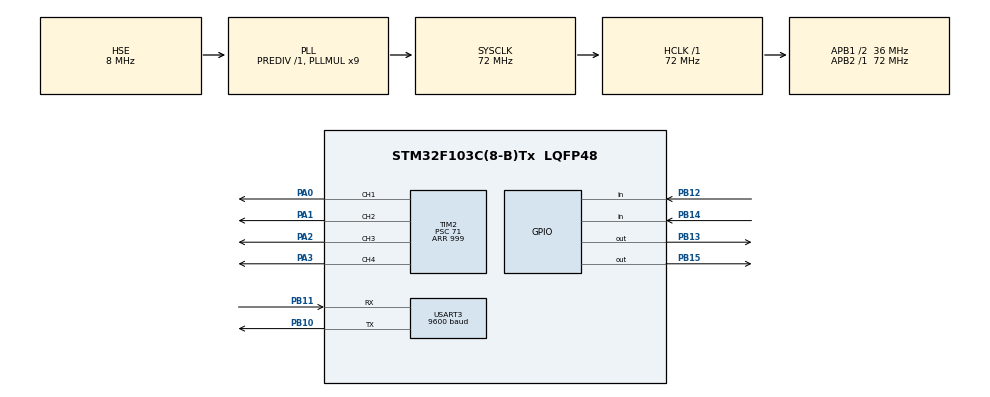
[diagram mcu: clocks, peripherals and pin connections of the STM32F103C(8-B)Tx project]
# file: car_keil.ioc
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Mcu.Family=STM32F1
Mcu.Name=STM32F103C(8-B)Tx
Mcu.Package=LQFP48
NVIC.PriorityGroup=NVIC_PRIORITYGROUP_4
PA0-WKUP.Signal=S_TIM2_CH1_ETR
PA1.Signal=S_TIM2_CH2
PA2.Signal=S_TIM2_CH3
PA3.Signal=S_TIM2_CH4
PB10.Mode=Asynchronous
PB10.Signal=USART3_TX
PB11.Mode=Asynchronous
PB11.Signal=USART3_RX
PB12.Signal=GPIO_Input
PB13.Signal=GPIO_Output
PB14.Signal=GPIO_Input
PB15.Signal=GPIO_Output
PC14-OSC32_IN.Mode=LSE-External-Oscillator
PC14-OSC32_IN.Signal=RCC_OSC32_IN
PC15-OSC32_OUT.Mode=LSE-External-Oscillator
PC15-OSC32_OUT.Signal=RCC_OSC32_OUT
PD0-OSC_IN.Mode=HSE-External-Oscillator
PD0-OSC_IN.Signal=RCC_OSC_IN
PD1-OSC_OUT.Mode=HSE-External-Oscillator
PD1-OSC_OUT.Signal=RCC_OSC_OUT
ProjectManager.HeapSize=0x200
ProjectManager.StackSize=0x400
ProjectManager.TargetToolchain=MDK-ARM V5
RCC.AHBFreq_Value=72000000
RCC.APB1CLKDivider=RCC_HCLK_DIV2
RCC.APB1Freq_Value=36000000
RCC.APB1TimFreq_Value=72000000
RCC.APB2Freq_Value=72000000
RCC.APB2TimFreq_Value=72000000
RCC.HCLKFreq_Value=72000000
RCC.PLLMUL=RCC_PLL_MUL9
RCC.PLLSourceVirtual=RCC_PLLSOURCE_HSE
RCC.SYSCLKFreq_VALUE=72000000
RCC.SYSCLKSource=RCC_SYSCLKSOURCE_PLLCLK
RCC.USBFreq_Value=72000000
SH.S_TIM2_CH1_ETR.0=TIM2_CH1,PWM Generation1 CH1
SH.S_TIM2_CH2.0=TIM2_CH2,PWM Generation2 CH2
SH.S_TIM2_CH3.0=TIM2_CH3,PWM Generation3 CH3
SH.S_TIM2_CH4.0=TIM2_CH4,PWM Generation4 CH4
TIM2.Channel-PWM\ Generation1\ CH1=TIM_CHANNEL_1
TIM2.Channel-PWM\ Generation2\ CH2=TIM_CHANNEL_2
TIM2.Channel-PWM\ Generation3\ CH3=TIM_CHANNEL_3
TIM2.Channel-PWM\ Generation4\ CH4=TIM_CHANNEL_4
TIM2.Period=999
TIM2.Prescaler=71
USART3.BaudRate=9600
USART3.VirtualMode=VM_ASYNC
VP_SYS_VS_ND.Mode=No_Debug
board=custom

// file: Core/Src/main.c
/* USER CODE BEGIN Header */
/**
  ******************************************************************************
  * @file           : main.c
  * @brief          : Main program body
  ******************************************************************************
  * @attention
  *
  * <h2><center>&copy; Copyright (c) 2025 STMicroelectronics.
  * All rights reserved.</center></h2>
  *
  * This software component is licensed by ST under BSD 3-Clause license,
  * the "License"; You may not use this file except in compliance with the
  * License. You may obtain a copy of the License at:
  *                        opensource.org/licenses/BSD-3-Clause
  *
  ******************************************************************************
  */
/* USER CODE END Header */
#include "main.h"
#include "tim.h"
#include "usart.h"
#include "gpio.h"

/* USER CODE BEGIN Includes */
#include "ultrasonic.h"
#include "motor.h"
#include "blue_tooth.h"
/* USER CODE END Includes */

void SystemClock_Config(void);
/* USER CODE BEGIN PFP */
void DWT_Init(void);
/* USER CODE END PFP */

int main(void)
{

  /* MCU Configuration--------------------------------------------------------*/

  /* Reset of all peripherals, Initializes the Flash interface and the Systick. */
  HAL_Init();

  /* Configure the system clock */
  SystemClock_Config();

  /* Initialize all configured peripherals */
  MX_GPIO_Init();
  MX_USART3_UART_Init();
  MX_TIM2_Init();
  /* USER CODE BEGIN 2 */
	Bluetooth_Init();
	DWT_Init();
	Motor_Init();

	double right_distance = Ultrasonic_GetDistance_RIGHT();
	double front_distance = Ultrasonic_GetDistance_FRONT();
	double max_distance = 20.0;

	double Kp = 2.0;
	double Ki = 0.0;
	double Kd = 1.4;

	int mode = 0;
	while (1)
	{
		switch(mode)
		{
			case 0:
			double error_prev = 0.0;
			double error_sum = 0;
			uint32_t last_time = 0;
			double target_distance = 10.0;
			uint8_t base_speed = 30;
			while(1)
			{
				//检测距离
				right_distance = GetDistance_Right(right_distance);
				front_distance = GetDistance_Front(front_distance);
				//模式切换
				if(front_distance < 10.0)	//摸墙调头
				{
					mode = 1;
					break;
				}
				if(right_distance > 25.0)	//岔路调头
				{
					mode = 2;
					break;
				}

				//PID控制
				if(right_distance > 20.0) {
						right_distance = 20.0; // Cap the distance to avoid excessive values
					 // Avoid negative distance
				}
				Bluetooth_SendString("right_distance:");
				Bluetooth_SendDouble(right_distance, 3);

				double error = target_distance - right_distance;

				uint32_t current_time = DWT->CYCCNT;
				double dt = (double)(current_time - last_time) / (SystemCoreClock);

				if (last_time == 0 || dt <= 0 || dt > 1.0) {
						dt = 0.01;
				}
				double error_diff = (error - error_prev) / dt;

				error_sum += error * dt;
				double error_sum_max = 50.0;
				if (error_sum > error_sum_max) error_sum = error_sum_max;
				if (error_sum < -error_sum_max) error_sum = -error_sum_max;

				double pid_output = Kp * error + Ki * error_sum + Kd * error_diff;

				double max_correction = base_speed * 0.8;
				if (pid_output > max_correction) pid_output = max_correction;
				if (pid_output < -max_correction) pid_output = -max_correction;

				int left_speed = base_speed + (int)pid_output;
				int right_speed = base_speed - (int)pid_output;

				if (left_speed < 0) left_speed = 0;
				if (right_speed < 0) right_speed = 0;
				if (left_speed > MAX_SPEED) left_speed = MAX_SPEED;
				if (right_speed > MAX_SPEED) right_speed = MAX_SPEED;

				int left_speed1=1.2*left_speed;//fixed motor signal
				Motor_Left(MOTOR_FORWARD,right_speed );
				Motor_Right(MOTOR_FORWARD, left_speed1);

				Bluetooth_SendString(" Error:");
				Bluetooth_SendDouble(error, 2);
				Bluetooth_SendString(" L:");
				Bluetooth_SendDouble(right_speed, 0);
				Bluetooth_SendString(" R:");
				Bluetooth_SendDouble(left_speed, 0);
				Bluetooth_SendString("\r\n");

				Bluetooth_SendPID(Kp, Ki, Kd);
				Bluetooth_Receive_PID(&Kp, &Ki, &Kd);

				error_prev = error;
				last_time = current_time;

				HAL_Delay(20);
			}
			break;
			// 摸墙调头
			case 1:
				Motor_Left(MOTOR_STOP, 0);
				Motor_Right(MOTOR_STOP, 0);
				HAL_Delay(200);

				Motor_Left(MOTOR_BACKWARD, 50);
				Motor_Right(MOTOR_FORWARD, 50);
				HAL_Delay(900);

				Motor_Left(MOTOR_STOP, 0);
				Motor_Right(MOTOR_STOP, 0);
				HAL_Delay(200);

				mode = 0;
				break;
			// 岔路调头
			case 2:
				Motor_Left(MOTOR_STOP, 0);
				Motor_Right(MOTOR_STOP, 0);
				HAL_Delay(200);
				// 前行一段距离
				Motor_Right(MOTOR_FORWARD, 50);
				Motor_Left(MOTOR_FORWARD, 50);
				HAL_Delay(500);
				Motor_Right(MOTOR_STOP, 0);
				Motor_Left(MOTOR_STOP, 0);
				HAL_Delay(200);
				// 右转90°
				Motor_Right(MOTOR_BACKWARD, 40);
				Motor_Left(MOTOR_FORWARD, 40);
				HAL_Delay(400);
				Motor_Right(MOTOR_STOP, 0);
				Motor_Left(MOTOR_STOP, 0);
				HAL_Delay(200);
				// 前行一段距离
				Motor_Right(MOTOR_FORWARD, 50);
				Motor_Left(MOTOR_FORWARD, 50);
				HAL_Delay(1000);
				Motor_Right(MOTOR_STOP, 0);
				Motor_Left(MOTOR_STOP, 0);
				HAL_Delay(200);
				// 右转90°
				Motor_Right(MOTOR_BACKWARD, 40);
				Motor_Left(MOTOR_FORWARD, 40);
				HAL_Delay(400);
				Motor_Right(MOTOR_STOP, 0);
				Motor_Left(MOTOR_STOP, 0);
				HAL_Delay(200);
				// 前行一段距离
				Motor_Right(MOTOR_FORWARD, 60);
				Motor_Left(MOTOR_FORWARD, 60);
				HAL_Delay(600);
				Motor_Right(MOTOR_STOP, 0);
				Motor_Left(MOTOR_STOP, 0);
				HAL_Delay(200);
				// 切换模式+
				mode = 0;
				break;
		}
	}
  /* USER CODE END 2 */

  /* Infinite loop */
  while (1)
  {

  }
}

void SystemClock_Config(void)
{
  RCC_OscInitTypeDef RCC_OscInitStruct = {0};
  RCC_ClkInitTypeDef RCC_ClkInitStruct = {0};

  /** Initializes the RCC Oscillators according to the specified parameters
  * in the RCC_OscInitTypeDef structure.
  */
  RCC_OscInitStruct.OscillatorType = RCC_OSCILLATORTYPE_HSE;
  RCC_OscInitStruct.HSEState = RCC_HSE_ON;
  RCC_OscInitStruct.HSEPredivValue = RCC_HSE_PREDIV_DIV1;
  RCC_OscInitStruct.HSIState = RCC_HSI_ON;
  RCC_OscInitStruct.PLL.PLLState = RCC_PLL_ON;
  RCC_OscInitStruct.PLL.PLLSource = RCC_PLLSOURCE_HSE;
  RCC_OscInitStruct.PLL.PLLMUL = RCC_PLL_MUL9;
  if (HAL_RCC_OscConfig(&RCC_OscInitStruct) != HAL_OK)
  {
    Error_Handler();
  }
  /** Initializes the CPU, AHB and APB buses clocks
  */
  RCC_ClkInitStruct.ClockType = RCC_CLOCKTYPE_HCLK|RCC_CLOCKTYPE_SYSCLK
                              |RCC_CLOCKTYPE_PCLK1|RCC_CLOCKTYPE_PCLK2;
  RCC_ClkInitStruct.SYSCLKSource = RCC_SYSCLKSOURCE_PLLCLK;
  RCC_ClkInitStruct.AHBCLKDivider = RCC_SYSCLK_DIV1;
  RCC_ClkInitStruct.APB1CLKDivider = RCC_HCLK_DIV2;
  RCC_ClkInitStruct.APB2CLKDivider = RCC_HCLK_DIV1;

  if (HAL_RCC_ClockConfig(&RCC_ClkInitStruct, FLASH_LATENCY_2) != HAL_OK)
  {
    Error_Handler();
  }
}

/* USER CODE BEGIN 4 */
void DWT_Init(void)
{
    CoreDebug->DEMCR |= CoreDebug_DEMCR_TRCENA_Msk;
    DWT->CYCCNT = 0;
    DWT->CTRL |= DWT_CTRL_CYCCNTENA_Msk;
}

/* USER CODE END 4 */

void Error_Handler(void)
{
  __disable_irq();
  while (1)
  {
  }
}

/************************ (C) COPYRIGHT STMicroelectronics *****END OF FILE****/
